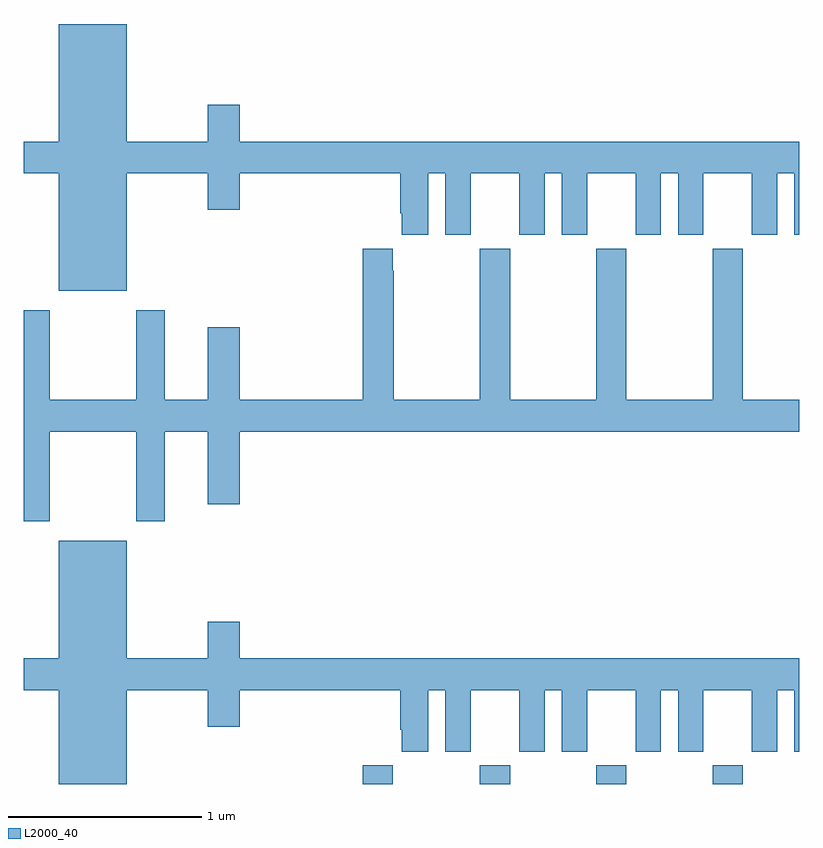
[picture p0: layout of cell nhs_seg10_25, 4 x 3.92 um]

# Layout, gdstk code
import gdstk
lib = gdstk.Library(unit=1e-6, precision=1e-09)
def R(c, l, rs):  # rectangles x0, y0, x1, y1
    for r in rs: c.add(gdstk.rectangle(r[:2], r[2:], *l))
def A(c, l, x, y, w, h, nx, ny, dx, dy):  # array of equal rectangles
    R(c, l, [(x+i*dx, y+j*dy, x+i*dx+w, y+j*dy+h) for i in range(nx) for j in range(ny)])
def P(c, l, *ps):  # polygons
    for p in ps: c.add(gdstk.Polygon(p, *l))
L2000_40 = (2000, 40)

nhs_seg10_25 = lib.new_cell('nhs_seg10_25')
A(nhs_seg10_25, L2000_40, 113.353, 1298.5, 0.155, 0.096, 3, 1, 0.6, 0)
R(nhs_seg10_25, L2000_40, [(112.748,1298.5,112.903,1298.596)])
P(nhs_seg10_25, L2000_40, [(111.532,1301.648),(111.95,1301.648),(111.95,1301.46),(112.114,1301.46),(112.114,1301.648),(112.943,1301.648),(112.943,1301.443),(112.949,1301.443),(112.949,1301.331),(113.086,1301.331),(113.086,1301.648),(113.174,1301.648),(113.174,1301.331),(113.305,1301.331),(113.305,1301.648),(113.555,1301.648),(113.555,1301.331),(113.686,1301.331),(113.686,1301.648),(113.774,1301.648),(113.774,1301.331),(113.905,1301.331),(113.905,1301.648),(114.155,1301.648),(114.155,1301.331),(114.286,1301.331),(114.286,1301.648),(114.374,1301.648),(114.374,1301.331),(114.505,1301.331),(114.505,1301.648),(114.755,1301.648),(114.755,1301.331),(114.886,1301.331),(114.886,1301.648),(114.974,1301.648),(114.974,1301.331),(115,1301.331),(115,1301.812),(112.114,1301.812),(112.114,1302.001),(111.95,1302.001),(111.95,1301.812),(111.532,1301.812),(111.532,1302.418),(111.182,1302.418),(111.182,1301.812),(111,1301.812),(111,1301.648),(111.182,1301.648),(111.182,1301.042),(111.532,1301.042)],
  [(111.135,1300.316),(111.58,1300.316),(111.58,1299.855),(111.727,1299.855),(111.727,1300.316),(111.95,1300.316),(111.95,1299.942),(112.114,1299.942),(112.114,1300.316),(115,1300.316),(115,1300.48),(114.708,1300.48),(114.708,1301.26),(114.553,1301.26),(114.553,1300.48),(114.108,1300.48),(114.108,1301.26),(113.953,1301.26),(113.953,1300.48),(113.508,1300.48),(113.508,1301.26),(113.353,1301.26),(113.353,1300.48),(112.908,1300.48),(112.908,1301.147),(112.903,1301.147),(112.903,1301.26),(112.748,1301.26),(112.748,1300.48),(112.114,1300.48),(112.114,1300.855),(111.95,1300.855),(111.95,1300.48),(111.727,1300.48),(111.727,1300.942),(111.58,1300.942),(111.58,1300.48),(111.135,1300.48),(111.135,1300.942),(111,1300.942),(111,1299.855),(111.135,1299.855)],
  [(111.532,1298.984),(111.95,1298.984),(111.95,1298.796),(112.114,1298.796),(112.114,1298.984),(112.943,1298.984),(112.943,1298.779),(112.949,1298.779),(112.949,1298.667),(113.086,1298.667),(113.086,1298.984),(113.174,1298.984),(113.174,1298.667),(113.305,1298.667),(113.305,1298.984),(113.555,1298.984),(113.555,1298.667),(113.686,1298.667),(113.686,1298.984),(113.774,1298.984),(113.774,1298.667),(113.905,1298.667),(113.905,1298.984),(114.155,1298.984),(114.155,1298.667),(114.286,1298.667),(114.286,1298.984),(114.374,1298.984),(114.374,1298.667),(114.505,1298.667),(114.505,1298.984),(114.755,1298.984),(114.755,1298.667),(114.886,1298.667),(114.886,1298.984),(114.974,1298.984),(114.974,1298.667),(115,1298.667),(115,1299.148),(112.114,1299.148),(112.114,1299.337),(111.95,1299.337),(111.95,1299.148),(111.532,1299.148),(111.532,1299.754),(111.182,1299.754),(111.182,1299.148),(111,1299.148),(111,1298.984),(111.182,1298.984),(111.182,1298.5),(111.532,1298.5)])

lib.write_gds('nhs_seg10_25.gds')
